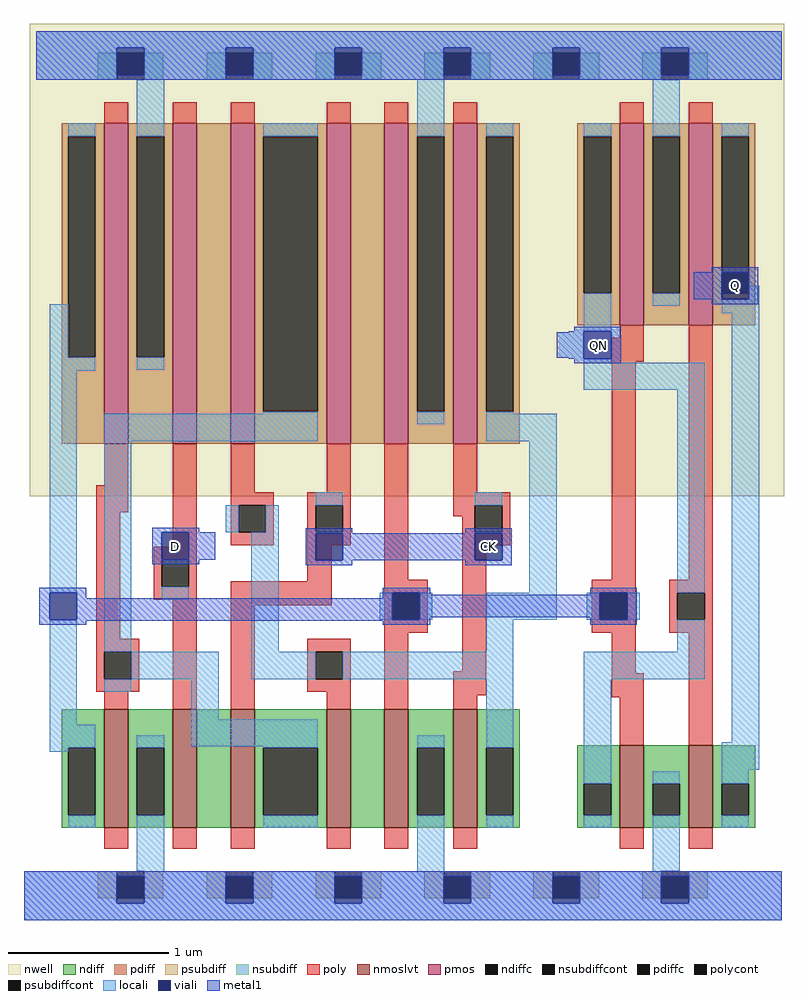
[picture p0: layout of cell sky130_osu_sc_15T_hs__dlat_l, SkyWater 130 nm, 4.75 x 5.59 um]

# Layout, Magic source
magic
tech sky130A
magscale 1 2
<< nwell >>
rect 78 529 1020 1119
<< nmoslvt >>
rect 171 115 201 263
rect 257 115 287 263
rect 329 115 359 263
rect 449 115 479 263
rect 521 115 551 263
rect 607 115 637 263
rect 815 115 845 218
rect 901 115 931 218
<< pmos >>
rect 171 595 201 995
rect 257 595 287 995
rect 329 595 359 995
rect 449 595 479 995
rect 521 595 551 995
rect 607 595 637 995
rect 815 743 845 995
rect 901 743 931 995
<< ndiff >>
rect 118 215 171 263
rect 118 131 126 215
rect 160 131 171 215
rect 118 115 171 131
rect 201 215 257 263
rect 201 131 212 215
rect 246 131 257 215
rect 201 115 257 131
rect 287 115 329 263
rect 359 215 449 263
rect 359 131 370 215
rect 438 131 449 215
rect 359 115 449 131
rect 479 115 521 263
rect 551 215 607 263
rect 551 131 562 215
rect 596 131 607 215
rect 551 115 607 131
rect 637 215 690 263
rect 637 131 648 215
rect 682 131 690 215
rect 637 115 690 131
rect 762 170 815 218
rect 762 131 770 170
rect 804 131 815 170
rect 762 115 815 131
rect 845 170 901 218
rect 845 131 856 170
rect 890 131 901 170
rect 845 115 901 131
rect 931 170 984 218
rect 931 131 942 170
rect 976 131 984 170
rect 931 115 984 131
<< pdiff >>
rect 118 979 171 995
rect 118 703 126 979
rect 160 703 171 979
rect 118 595 171 703
rect 201 979 257 995
rect 201 703 212 979
rect 246 703 257 979
rect 201 595 257 703
rect 287 595 329 995
rect 359 979 449 995
rect 359 635 370 979
rect 438 635 449 979
rect 359 595 449 635
rect 479 595 521 995
rect 551 979 607 995
rect 551 635 562 979
rect 596 635 607 979
rect 551 595 607 635
rect 637 979 690 995
rect 637 635 648 979
rect 682 635 690 979
rect 762 979 815 995
rect 762 783 770 979
rect 804 783 815 979
rect 762 743 815 783
rect 845 979 901 995
rect 845 783 856 979
rect 890 783 901 979
rect 845 743 901 783
rect 931 979 984 995
rect 931 783 942 979
rect 976 783 984 979
rect 931 743 984 783
rect 637 595 690 635
<< ndiffc >>
rect 126 131 160 215
rect 212 131 246 215
rect 370 131 438 215
rect 562 131 596 215
rect 648 131 682 215
rect 770 131 804 170
rect 856 131 890 170
rect 942 131 976 170
<< pdiffc >>
rect 126 703 160 979
rect 212 703 246 979
rect 370 635 438 979
rect 562 635 596 979
rect 648 635 682 979
rect 770 783 804 979
rect 856 783 890 979
rect 942 783 976 979
<< psubdiff >>
rect 163 27 187 61
rect 221 27 245 61
rect 299 27 323 61
rect 357 27 381 61
rect 435 27 459 61
rect 493 27 517 61
rect 571 27 595 61
rect 629 27 653 61
rect 707 27 731 61
rect 765 27 789 61
rect 843 27 867 61
rect 901 27 925 61
<< nsubdiff >>
rect 163 1049 187 1083
rect 221 1049 245 1083
rect 299 1049 323 1083
rect 357 1049 381 1083
rect 435 1049 459 1083
rect 493 1049 517 1083
rect 571 1049 595 1083
rect 629 1049 653 1083
rect 707 1049 731 1083
rect 765 1049 789 1083
rect 843 1049 867 1083
rect 901 1049 925 1083
<< psubdiffcont >>
rect 187 27 221 61
rect 323 27 357 61
rect 459 27 493 61
rect 595 27 629 61
rect 731 27 765 61
rect 867 27 901 61
<< nsubdiffcont >>
rect 187 1049 221 1083
rect 323 1049 357 1083
rect 459 1049 493 1083
rect 595 1049 629 1083
rect 731 1049 765 1083
rect 867 1049 901 1083
<< poly >>
rect 171 995 201 1021
rect 257 995 287 1021
rect 329 995 359 1021
rect 449 995 479 1021
rect 521 995 551 1021
rect 607 995 637 1021
rect 815 995 845 1021
rect 901 995 931 1021
rect 815 727 845 743
rect 805 697 845 727
rect 171 543 201 595
rect 161 509 201 543
rect 161 351 191 509
rect 257 466 287 595
rect 329 534 359 595
rect 449 534 479 595
rect 329 518 383 534
rect 329 484 339 518
rect 373 484 383 518
rect 329 468 383 484
rect 425 518 479 534
rect 425 484 435 518
rect 469 484 479 518
rect 425 468 479 484
rect 233 450 287 466
rect 233 416 243 450
rect 277 416 287 450
rect 425 423 455 468
rect 233 400 287 416
rect 161 335 215 351
rect 161 301 171 335
rect 205 301 215 335
rect 161 285 215 301
rect 171 263 201 285
rect 257 263 287 400
rect 329 393 455 423
rect 521 425 551 595
rect 607 534 637 595
rect 607 518 678 534
rect 607 504 634 518
rect 618 484 634 504
rect 668 484 678 518
rect 618 468 678 484
rect 521 409 575 425
rect 329 263 359 393
rect 521 375 531 409
rect 565 375 575 409
rect 521 359 575 375
rect 425 335 479 351
rect 425 301 435 335
rect 469 301 479 335
rect 425 285 479 301
rect 449 263 479 285
rect 521 263 551 359
rect 618 311 648 468
rect 805 425 835 697
rect 901 425 931 743
rect 780 409 835 425
rect 780 375 790 409
rect 824 375 835 409
rect 780 359 835 375
rect 877 409 931 425
rect 877 375 887 409
rect 921 375 931 409
rect 877 359 931 375
rect 607 281 648 311
rect 805 308 835 359
rect 607 263 637 281
rect 805 278 845 308
rect 815 218 845 278
rect 901 218 931 359
rect 171 89 201 115
rect 257 89 287 115
rect 329 89 359 115
rect 449 89 479 115
rect 521 89 551 115
rect 607 89 637 115
rect 815 89 845 115
rect 901 89 931 115
<< polycont >>
rect 339 484 373 518
rect 435 484 469 518
rect 243 416 277 450
rect 171 301 205 335
rect 634 484 668 518
rect 531 375 565 409
rect 435 301 469 335
rect 790 375 824 409
rect 887 375 921 409
<< locali >>
rect 86 1089 1017 1110
rect 86 1049 187 1089
rect 221 1049 323 1089
rect 357 1049 459 1089
rect 493 1049 595 1089
rect 629 1049 731 1089
rect 765 1049 867 1089
rect 901 1049 1017 1089
rect 126 979 160 995
rect 103 703 126 769
rect 103 686 160 703
rect 212 979 246 1049
rect 212 687 246 703
rect 370 979 438 995
rect 103 409 137 686
rect 370 632 438 635
rect 103 244 137 375
rect 171 598 438 632
rect 562 979 596 1049
rect 562 619 596 635
rect 648 979 682 995
rect 770 979 804 995
rect 770 735 804 783
rect 856 979 890 1049
rect 856 767 890 783
rect 942 979 976 995
rect 976 775 989 792
rect 942 758 989 775
rect 770 696 804 701
rect 770 662 921 696
rect 648 632 682 635
rect 648 598 736 632
rect 171 335 205 598
rect 435 518 469 534
rect 323 484 339 518
rect 373 484 389 518
rect 243 400 277 416
rect 355 335 389 484
rect 435 483 469 484
rect 634 518 668 534
rect 634 483 668 484
rect 702 409 736 598
rect 887 409 921 662
rect 515 375 531 409
rect 565 375 581 409
rect 648 375 736 409
rect 774 375 790 409
rect 824 375 840 409
rect 648 335 682 375
rect 887 335 921 375
rect 205 301 314 335
rect 355 301 435 335
rect 469 301 682 335
rect 171 285 205 301
rect 280 251 314 301
rect 103 215 160 244
rect 103 210 126 215
rect 126 115 160 131
rect 212 215 246 231
rect 280 217 438 251
rect 212 61 246 131
rect 370 215 438 217
rect 370 115 438 131
rect 562 215 596 231
rect 562 61 596 131
rect 648 215 682 301
rect 648 115 682 131
rect 770 301 921 335
rect 770 170 804 301
rect 955 222 989 758
rect 942 188 989 222
rect 770 115 804 131
rect 856 170 890 186
rect 856 61 890 131
rect 942 170 976 188
rect 942 115 976 131
rect 71 21 187 61
rect 221 21 323 61
rect 357 21 459 61
rect 493 21 595 61
rect 629 21 731 61
rect 765 21 867 61
rect 901 21 1017 61
rect 71 0 1017 21
<< viali >>
rect 187 1083 221 1089
rect 187 1055 221 1083
rect 323 1083 357 1089
rect 323 1055 357 1083
rect 459 1083 493 1089
rect 459 1055 493 1083
rect 595 1083 629 1089
rect 595 1055 629 1083
rect 731 1083 765 1089
rect 731 1055 765 1083
rect 867 1083 901 1089
rect 867 1055 901 1083
rect 103 375 137 409
rect 942 783 976 809
rect 942 775 976 783
rect 770 701 804 735
rect 243 450 277 484
rect 435 449 469 483
rect 634 449 668 483
rect 531 375 565 409
rect 790 375 824 409
rect 187 27 221 55
rect 187 21 221 27
rect 323 27 357 55
rect 323 21 357 27
rect 459 27 493 55
rect 459 21 493 27
rect 595 27 629 55
rect 595 21 629 27
rect 731 27 765 55
rect 731 21 765 27
rect 867 27 901 55
rect 867 21 901 27
<< metal1 >>
rect 86 1089 1017 1110
rect 86 1055 187 1089
rect 221 1055 323 1089
rect 357 1055 459 1089
rect 493 1055 595 1089
rect 629 1055 731 1089
rect 765 1055 867 1089
rect 901 1055 1017 1089
rect 86 1049 1017 1055
rect 930 809 988 815
rect 907 775 942 809
rect 976 775 988 809
rect 930 769 988 775
rect 758 735 816 741
rect 751 734 770 735
rect 736 702 770 734
rect 751 701 770 702
rect 804 701 816 735
rect 758 695 816 701
rect 231 484 290 490
rect 231 450 243 484
rect 277 450 310 484
rect 423 483 481 489
rect 622 483 680 489
rect 231 444 290 450
rect 423 449 435 483
rect 469 449 634 483
rect 668 449 680 483
rect 423 443 481 449
rect 622 443 680 449
rect 90 409 149 415
rect 90 375 103 409
rect 137 402 149 409
rect 519 409 578 415
rect 519 402 531 409
rect 137 375 531 402
rect 565 406 578 409
rect 778 409 836 415
rect 778 406 790 409
rect 565 378 790 406
rect 565 375 578 378
rect 90 374 578 375
rect 90 369 149 374
rect 519 369 578 374
rect 778 375 790 378
rect 824 375 836 409
rect 778 369 836 375
rect 71 55 1017 61
rect 71 21 187 55
rect 221 21 323 55
rect 357 21 459 55
rect 493 21 595 55
rect 629 21 731 55
rect 765 21 867 55
rect 901 21 1017 55
rect 71 0 1017 21
<< labels >>
rlabel metal1 651 466 651 466 1 CK
port 1 n
rlabel metal1 260 466 260 466 1 D
port 2 n
rlabel viali 959 792 959 792 1 Q
port 3 n
rlabel viali 788 718 788 718 1 QN
port 4 n
<< end >>
